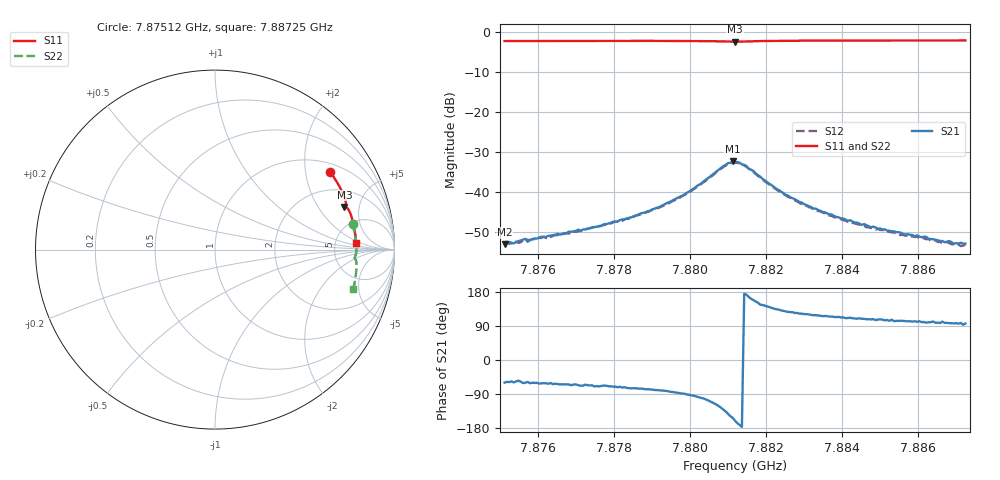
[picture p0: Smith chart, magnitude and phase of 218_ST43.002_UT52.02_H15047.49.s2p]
#  HZ  S  DB  R  50.00
! Rohde & Schwarz Vector Network Analyzer
! Rohde-Schwarz,ZNB20-2Port,1311601062101988,3.16
! Created: UTC 1/12/2023, 6:45:37 PM
! freq[Hz]  db:S11  ang:S11  db:S21  ang:S21  db:S12  ang:S12  db:S22  ang:S22
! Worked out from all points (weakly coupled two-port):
!   201 points, 7.87512 GHz to 7.88725 GHz, reference 50 ohm
!   highest |S21| = -32.28 dB at 7.88113 GHz (marker M1); lowest = -52.9 dB at 7.87512 GHz (marker M2)
!   lowest |S11| = -2.4 dB at 7.88119 GHz (marker M3), VSWR 7.31, Z = 158 + j177 ohm
!   |S11| at or under -10 dB: nowhere
!   |S22| runs from -2.3 to -1.9 dB; largest |S21 - S12| = 0.002
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7.875122e9  -2.23 34.2  -52.91 -59.7  -52.70 -59.3  -2.16 10.3
7.875183e9  -2.23 34.0  -52.43 -57.6  -52.30 -60.4  -2.17 10.2
7.875244e9  -2.23 33.8  -52.38 -58.4  -52.82 -61.8  -2.15 10.1
7.875365e9  -2.23 33.5  -52.72 -59.1  -52.41 -62.5  -2.15 9.8
7.875486e9  -2.23 33.2  -52.18 -54.5  -52.62 -62.1  -2.15 9.5
7.875668e9  -2.22 32.7  -51.59 -60.0  -51.87 -63.1  -2.14 9.1
7.875729e9  -2.22 32.6  -52.34 -57.8  -51.78 -61.5  -2.16 8.9
7.876093e9  -2.21 31.5  -51.08 -61.5  -51.37 -65.0  -2.13 8.1
7.877184e9  -2.20 28.6  -49.24 -67.9  -49.43 -67.9  -2.10 5.5
7.878216e9  -2.18 25.7  -46.77 -72.9  -47.12 -75.2  -2.08 3.1
7.879186e9  -2.18 23.0  -43.73 -79.8  -43.83 -83.2  -2.07 0.9
7.879975e9  -2.19 20.8  -39.83 -91.5  -39.96 -94.9  -2.08 -1.2
7.880884e9  -2.34 18.3  -33.43 -131.1  -33.66 -134.2  -2.22 -3.4
7.881127e9  -2.39 18.2  -32.28 -152.8  -32.62 -157.0  -2.28 -3.3
7.881188e9  -2.39 18.2  -32.38 -160.0  -32.60 -163.1  -2.28 -3.3
7.881491e9  -2.33 18.1  -33.43 172.1  -33.63 167.6  -2.22 -3.2
7.882522e9  -2.16 15.3  -40.60 128.4  -40.73 125.6  -2.03 -5.4
7.88325e9  -2.13 13.3  -44.03 118.0  -44.21 115.3  -2.00 -7.2
7.88416e9  -2.11 10.8  -47.10 111.0  -47.37 108.0  -1.97 -9.3
7.885251e9  -2.10 7.9  -49.58 103.4  -49.80 101.6  -1.96 -11.7
7.886646e9  -2.09 4.2  -52.12 101.3  -52.67 95.0  -1.94 -14.8
7.887253e9  -2.08 2.7  -52.79 96.1  -53.14 92.1  -1.93 -16.1
